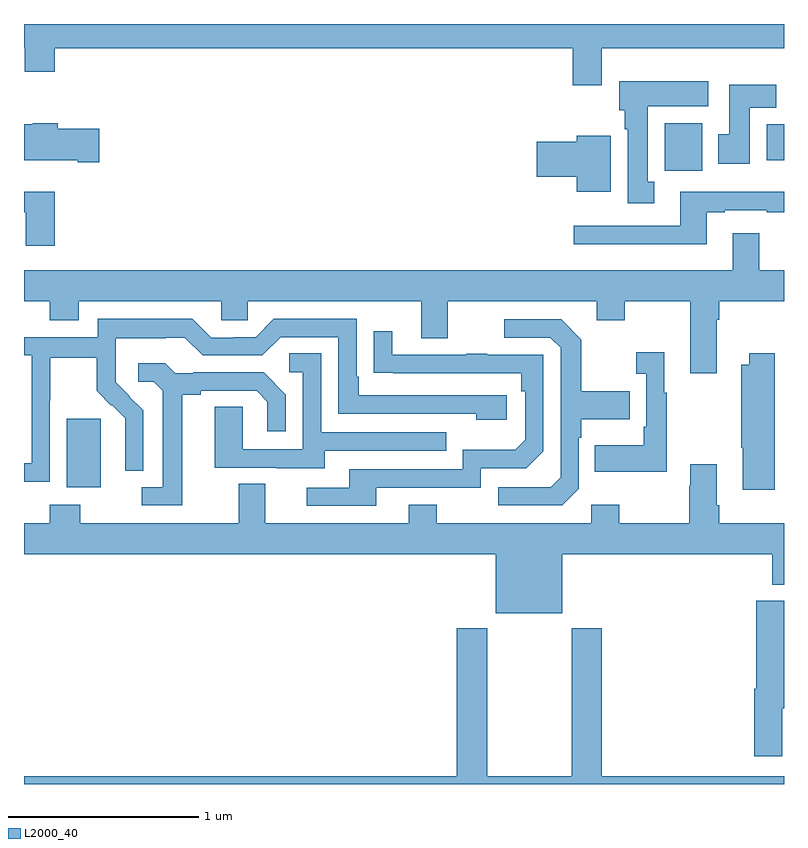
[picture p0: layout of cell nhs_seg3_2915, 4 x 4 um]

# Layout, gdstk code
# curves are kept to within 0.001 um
import gdstk
lib = gdstk.Library(unit=1e-6, precision=1e-09)
def R(c, l, rs):  # rectangles x0, y0, x1, y1
    for r in rs: c.add(gdstk.rectangle(r[:2], r[2:], *l))
def P(c, l, *ps):  # polygons
    for p in ps: c.add(gdstk.Polygon(p, *l))
L2000_40 = (2000, 40)

nhs_seg3_2915 = lib.new_cell('nhs_seg3_2915')
R(nhs_seg3_2915, L2000_40, [(263.225,675.962,263.404,676.323), (266.373,677.628,266.569,677.878), (266.909,677.684,267,677.872)])
P(nhs_seg3_2915, L2000_40, [(266.041,678.272),(267,678.272),(267,678.4),(263,678.4),(263,678.272),(263.005,678.272),(263.005,678.148),(263.162,678.148),(263.162,678.272),(265.889,678.272),(265.889,678.078),(266.041,678.078)],
  [(266.317,677.569),(266.284,677.569),(266.284,677.966),(266.602,677.966),(266.602,678.1),(266.132,678.1),(266.132,677.946),(266.162,677.946),(266.162,677.846),(266.177,677.846),(266.177,677.457),(266.317,677.457)],
  [(266.821,677.96),(266.96,677.96),(266.96,678.079),(266.711,678.079),(266.711,677.82),(266.654,677.82),(266.654,677.664),(266.821,677.664)],
  [(263.395,677.85),(263.177,677.85),(263.177,677.878),(263.046,677.878),(263.046,677.872),(263,677.872),(263,677.684),(263.282,677.684),(263.282,677.672),(263.395,677.672)],
  [(266.089,677.812),(265.91,677.812),(265.91,677.78),(265.698,677.78),(265.698,677.597),(265.91,677.597),(265.91,677.516),(266.089,677.516)],
  [(266.593,677.409),(266.689,677.409),(266.689,677.421),(266.909,677.421),(266.909,677.409),(267,677.409),(267,677.518),(266.453,677.518),(266.453,677.337),(265.893,677.337),(265.893,677.24),(266.593,677.24)],
  [(263.162,677.518),(263,677.518),(263,677.409),(263.009,677.409),(263.009,677.232),(263.162,677.232)],
  [(266.647,676.844),(266.66,676.844),(266.66,676.94),(267,676.94),(267,677.104),(266.869,677.104),(266.869,677.299),(266.729,677.299),(266.729,677.104),(263,677.104),(263,676.94),(263.135,676.94),(263.135,676.841),(263.287,676.841),(263.287,676.94),(264.039,676.94),(264.039,676.842),(264.177,676.842),(264.177,676.94),(265.091,676.94),(265.091,676.746),(265.231,676.746),(265.231,676.94),(266.015,676.94),(266.015,676.841),(266.163,676.841),(266.163,676.94),(266.507,676.94),(266.507,676.563),(266.647,676.563)],
  [(263.136,676.42),(263.139,676.42),(263.139,676.644),(263.383,676.644),(263.383,676.469),(263.46,676.392),(263.463,676.395),(263.534,676.325),(263.534,676.202),(263.532,676.202),(263.532,676.048),(263.628,676.048),(263.628,676.366),(263.482,676.514),(263.482,676.611),(263.484,676.611),(263.484,676.745),(263.747,676.745),(263.747,676.749),(263.847,676.749),(263.94,676.656),(264.255,676.656),(264.351,676.752),(264.654,676.752),(264.654,676.35),(265.379,676.35),(265.379,676.316),(265.54,676.316),(265.54,676.446),(264.763,676.446),(264.763,676.543),(264.75,676.543),(264.75,676.848),(264.315,676.848),(264.219,676.752),(264.101,676.752),(264.101,676.749),(263.985,676.749),(263.885,676.849),(263.388,676.849),(263.388,676.752),(263,676.752),(263,676.656),(263.04,676.656),(263.04,676.089),(263,676.089),(263,675.991),(263.136,675.991)],
  [(265.92,675.954),(265.92,676.223),(265.933,676.223),(265.933,676.319),(266.189,676.319),(266.189,676.467),(265.933,676.467),(265.933,676.739),(265.827,676.845),(265.527,676.845),(265.527,676.749),(265.77,676.749),(265.824,676.695),(265.824,676.014),(265.773,675.963),(265.497,675.963),(265.497,675.867),(265.833,675.867)],
  [(264.853,675.96),(265.404,675.96),(265.404,676.062),(265.644,676.062),(265.734,676.152),(265.734,676.659),(265.439,676.659),(265.439,676.664),(265.327,676.664),(265.327,676.659),(264.937,676.659),(264.937,676.783),(264.841,676.783),(264.841,676.564),(265.618,676.563),(265.618,676.466),(265.638,676.466),(265.638,676.212),(265.585,676.159),(265.308,676.159),(265.308,676.056),(264.713,676.056),(264.713,675.96),(264.489,675.96),(264.489,675.864),(264.853,675.864)],
  [(266.383,676.459),(266.371,676.459),(266.371,676.672),(266.223,676.672),(266.223,676.559),(266.274,676.559),(266.274,676.279),(266.262,676.279),(266.262,676.183),(266.005,676.183),(266.005,676.043),(266.383,676.043)],
  [(264.583,676.155),(265.223,676.155),(265.223,676.251),(264.564,676.251),(264.564,676.667),(264.396,676.667),(264.396,676.566),(264.468,676.566),(264.468,676.161),(264.15,676.161),(264.15,676.385),(264.005,676.385),(264.005,676.065),(264.329,676.065),(264.329,676.061),(264.583,676.061)],
  [(266.951,676.666),(266.816,676.666),(266.816,676.606),(266.776,676.606),(266.776,676.171),(266.783,676.171),(266.783,675.948),(266.951,675.948)],
  [(263.833,676.448),(263.929,676.448),(263.929,676.47),(264.224,676.47),(264.281,676.413),(264.281,676.257),(264.378,676.257),(264.378,676.45),(264.262,676.566),(263.89,676.566),(263.89,676.563),(263.796,676.563),(263.744,676.615),(263.601,676.615),(263.601,676.518),(263.682,676.518),(263.729,676.471),(263.729,675.963),(263.619,675.963),(263.619,675.867),(263.833,675.867)],
  [(265.834,675.608),(266.939,675.608),(266.939,675.449),(267,675.449),(267,675.772),(266.66,675.772),(266.66,675.868),(266.647,675.868),(266.647,676.084),(266.507,676.084),(266.507,675.971),(266.5,675.971),(266.5,675.772),(266.133,675.772),(266.133,675.871),(265.986,675.871),(265.986,675.772),(265.173,675.772),(265.173,675.871),(265.025,675.871),(265.025,675.772),(264.271,675.772),(264.271,675.98),(264.131,675.98),(264.131,675.772),(263.295,675.772),(263.295,675.871),(263.135,675.871),(263.135,675.772),(263,675.772),(263,675.608),(265.484,675.608),(265.484,675.299),(265.834,675.299)],
  [(266.992,674.798),(267,674.798),(267,675.364),(266.855,675.364),(266.855,674.902),(266.843,674.902),(266.843,674.547),(266.992,674.547)],
  [(267,674.44),(266.042,674.44),(266.042,675.22),(265.882,675.22),(265.882,674.44),(265.437,674.44),(265.437,675.22),(265.277,675.22),(265.277,674.44),(263,674.44),(263,674.4),(267,674.4)])

lib.write_gds('nhs_seg3_2915.gds')
